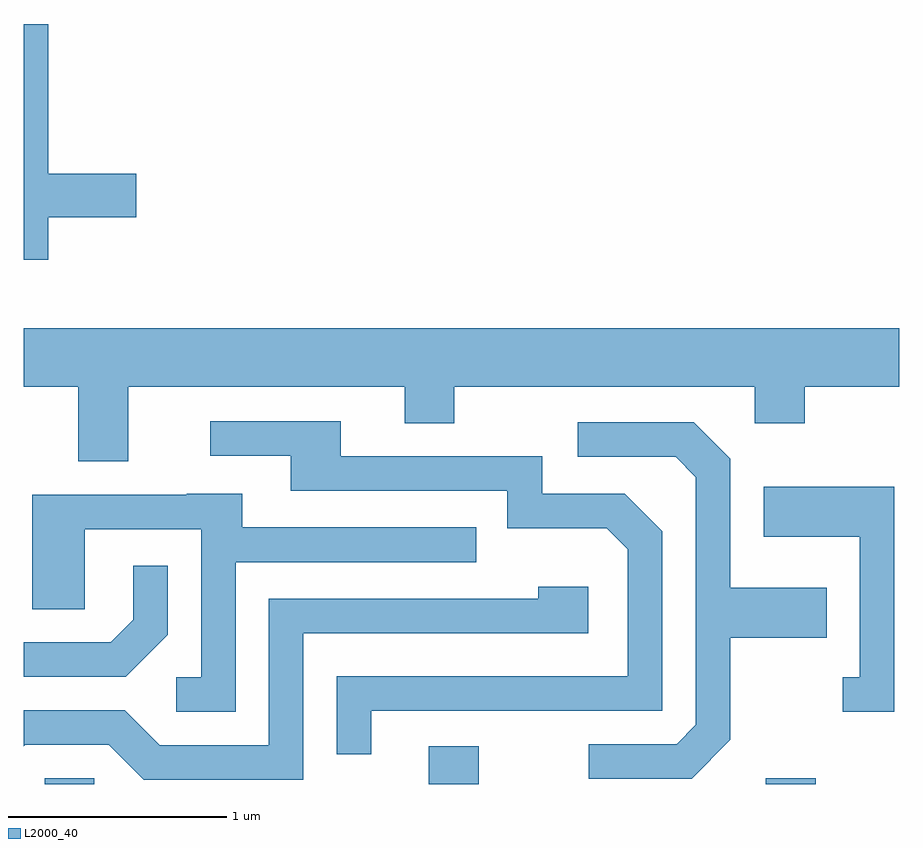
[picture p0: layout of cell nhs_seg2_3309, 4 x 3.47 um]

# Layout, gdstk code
import gdstk
lib = gdstk.Library(unit=1e-6, precision=1e-09)
def R(c, l, rs):  # rectangles x0, y0, x1, y1
    for r in rs: c.add(gdstk.rectangle(r[:2], r[2:], *l))
def P(c, l, *ps):  # polygons
    for p in ps: c.add(gdstk.Polygon(p, *l))
L2000_40 = (2000, 40)

nhs_seg2_3309 = lib.new_cell('nhs_seg2_3309')
R(nhs_seg2_3309, L2000_40, [(281.706,1079.802,281.934,1079.829), (283.461,1079.802,283.689,1079.974), (285.001,1079.802,285.229,1079.829)])
P(nhs_seg2_3309, L2000_40, [(281.724,1082.391),(282.124,1082.391),(282.124,1082.589),(281.724,1082.589),(281.724,1083.274),(281.611,1083.274),(281.611,1082.196),(281.724,1082.196)],
  [(282.089,1081.616),(283.351,1081.616),(283.351,1081.451),(283.579,1081.451),(283.579,1081.616),(284.951,1081.616),(284.951,1081.451),(285.179,1081.451),(285.179,1081.616),(285.611,1081.616),(285.611,1081.884),(281.611,1081.884),(281.611,1081.616),(281.861,1081.616),(281.861,1081.276),(282.089,1081.276)],
  [(283.199,1080.136),(284.529,1080.136),(284.529,1080.957),(284.357,1081.129),(283.979,1081.129),(283.979,1081.299),(283.059,1081.299),(283.059,1081.459),(282.463,1081.459),(282.463,1081.301),(282.831,1081.301),(282.831,1081.141),(283.821,1081.141),(283.821,1080.971),(284.274,1080.971),(284.371,1080.874),(284.371,1080.294),(283.041,1080.294),(283.041,1079.938),(283.199,1079.938)],
  [(284.839,1080.004),(284.839,1080.471),(285.279,1080.471),(285.279,1080.699),(284.839,1080.699),(284.839,1081.287),(284.672,1081.454),(284.143,1081.454),(284.143,1081.296),(284.589,1081.296),(284.681,1081.204),(284.681,1080.072),(284.594,1079.984),(284.193,1079.984),(284.193,1079.826),(284.662,1079.826)],
  [(285.589,1081.159),(284.991,1081.159),(284.991,1080.931),(285.431,1080.931),(285.431,1080.289),(285.353,1080.289),(285.353,1080.131),(285.589,1080.131)],
  [(282.579,1080.816),(283.678,1080.816),(283.678,1080.974),(282.609,1080.974),(282.609,1081.129),(282.355,1081.129),(282.355,1081.124),(281.651,1081.124),(281.651,1080.601),(281.889,1080.601),(281.889,1080.966),(282.421,1080.966),(282.421,1080.289),(282.308,1080.289),(282.308,1080.131),(282.579,1080.131)],
  [(282.269,1080.484),(282.269,1080.798),(282.111,1080.798),(282.111,1080.552),(282.009,1080.449),(281.611,1080.449),(281.611,1080.291),(282.077,1080.291)],
  [(282.889,1080.491),(284.189,1080.491),(284.189,1080.704),(283.961,1080.704),(283.961,1080.649),(282.731,1080.649),(282.731,1079.979),(282.232,1079.979),(282.072,1080.139),(281.611,1080.139),(281.611,1079.975),(281.617,1079.981),(281.999,1079.981),(282.159,1079.821),(282.889,1079.821)])

lib.write_gds('nhs_seg2_3309.gds')
